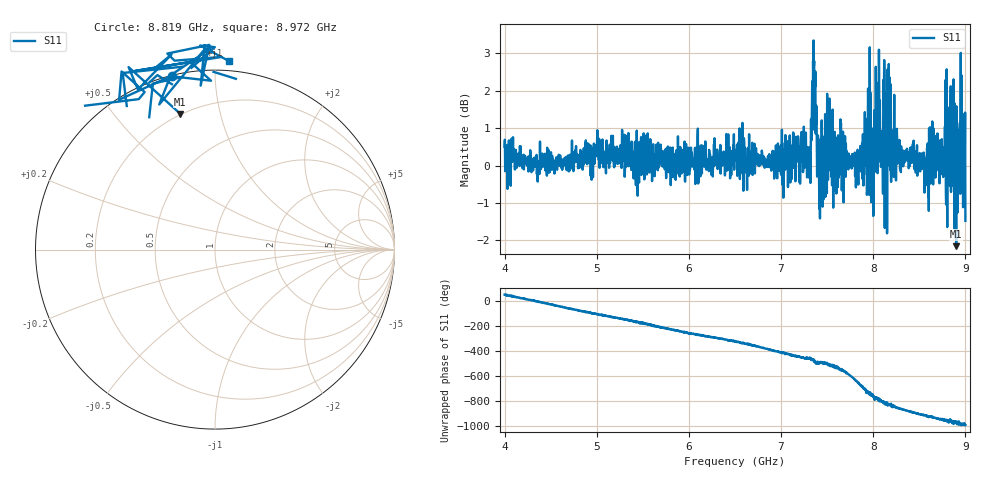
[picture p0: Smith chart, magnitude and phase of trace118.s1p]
! Created with skrf 1.8.0 (http://scikit-rf.org).
# Hz S RI R 50.0
!freq ReS11 ImS11
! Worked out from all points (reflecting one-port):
!   1601 points, 4 GHz to 9 GHz, reference 50 ohm
!   lowest |S11| = -2.2 dB at 8.9 GHz (marker M1), VSWR 8.11, Z = 9.79 + j37.9 ohm
!   phase of S11 starts at 53 deg and turns -1048 deg over the sweep
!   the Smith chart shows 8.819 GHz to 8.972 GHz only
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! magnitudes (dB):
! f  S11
! 4 GHz  0.5
! 4.625 GHz  -0.1
! 5.25 GHz  0.2
! 5.875 GHz  0.0
! 6.5 GHz  0.4
! 7.125 GHz  0.0
! 7.297 GHz  0.3
! 7.359 GHz  2.8
! 7.378 GHz  1.6
! 7.4 GHz  0.8
! 7.438 GHz  -0.4
! 7.525 GHz  1.8
! 7.591 GHz  0.3
! 7.631 GHz  0.0
! 7.75 GHz  0.1
! 7.828 GHz  0.4
! 7.947 GHz  0.5
! 8 GHz  -1.3
! 8.05 GHz  1.1
! 8.081 GHz  0.9
! 8.134 GHz  -0.1
! 8.216 GHz  0.7
! 8.375 GHz  0.2
! 8.578 GHz  -0.5
! 8.847 GHz  1.7
! 8.9 GHz  -2.2
! 8.972 GHz  0.5
! 9 GHz  -1.5
